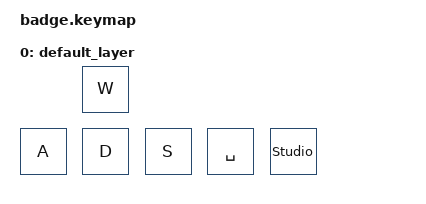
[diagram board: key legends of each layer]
#include <behaviors.dtsi>
#include <dt-bindings/zmk/keys.h>

/ {
    keymap {
        compatible = "zmk,keymap";

        default_layer { // Layer 0

            bindings = <
                &kp A
                &kp D
                &kp W
                &kp S
                &studio_unlock    
                &kp SPACE
            >;
        };
    };
 };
